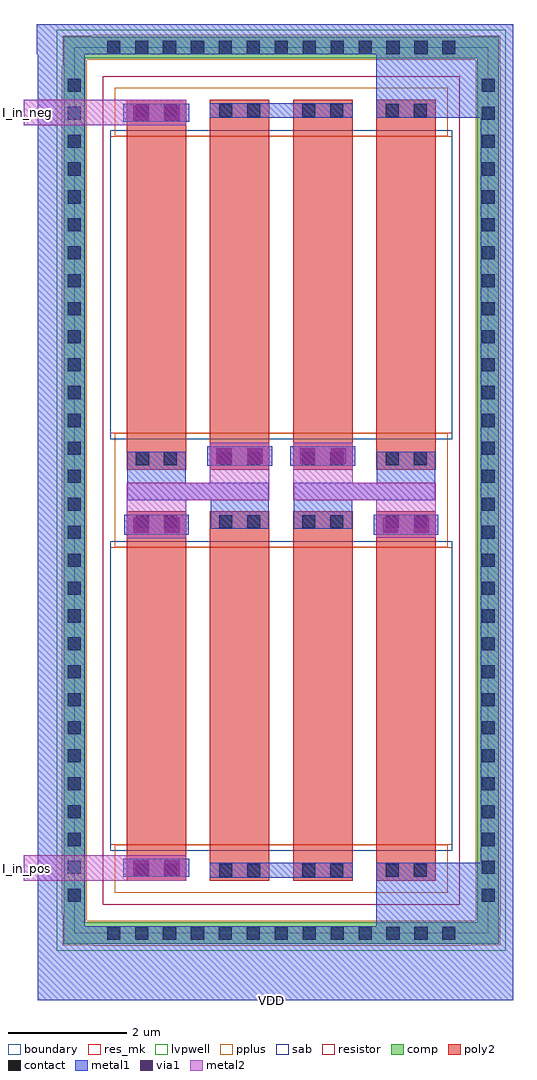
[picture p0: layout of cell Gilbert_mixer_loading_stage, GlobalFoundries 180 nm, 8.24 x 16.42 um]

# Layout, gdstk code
import gdstk
lib = gdstk.Library(unit=1e-6, precision=1e-09)
def R(c, l, rs):  # rectangles x0, y0, x1, y1
    for r in rs: c.add(gdstk.rectangle(r[:2], r[2:], *l))
def A(c, l, x, y, w, h, nx, ny, dx, dy):  # array of equal rectangles
    R(c, l, [(x+i*dx, y+j*dy, x+i*dx+w, y+j*dy+h) for i in range(nx) for j in range(ny)])
boundary = (0, 0)
comp = (22, 0)
poly2 = (30, 0)
pplus = (31, 0)
contact = (33, 0)
metal1 = (34, 0)
via1 = (35, 0)
metal2 = (36, 0)
sab = (49, 0)
resistor = (62, 0)
res_mk = (110, 5)
lvpwell = (204, 0)

ppolyf_u_1k_db8c7l = lib.new_cell('ppolyf_u_1k_DB8C7L')
R(ppolyf_u_1k_db8c7l, boundary, [(-3.48,-7.45,3.48,7.45)])
R(ppolyf_u_1k_db8c7l, comp, [(-3.66,-7.63,3.66,-7.27), (-3.66,-7.27,-3.3,7.27), (3.3,-7.27,3.66,7.27), (-3.66,7.27,3.66,7.63)])
A(ppolyf_u_1k_db8c7l, poly2, -2.6, -6.57, 1, 6.22, 4, 2, 1.4, 6.92)
R(ppolyf_u_1k_db8c7l, pplus, [(-3.175,-7.66,3.175,-7.65), (-3.68,-7.65,3.68,-7.24), (-3.68,-7.24,-3.27,-7.145), (3.27,-7.24,3.68,-7.145), (-3.69,-7.145,-3.27,7.145), (3.27,-7.145,3.69,7.145), (-2.8,-6.77,2.8,-5.96), (-2.8,-0.96,2.8,0.96), (-2.8,5.96,2.8,6.77), (-3.68,7.145,-3.27,7.24), (3.27,7.145,3.68,7.24), (-3.68,7.24,3.68,7.65), (-3.175,7.65,3.175,7.66)])
A(ppolyf_u_1k_db8c7l, contact, -2.93, -7.56, 0.22, 0.22, 13, 2, 0.47, 14.9)
A(ppolyf_u_1k_db8c7l, contact, -3.59, -6.925, 0.22, 0.22, 1, 30, 0, 0.47)
A(ppolyf_u_1k_db8c7l, contact, 3.37, -6.925, 0.22, 0.22, 1, 30, 0, 0.47)
R(ppolyf_u_1k_db8c7l, contact, [(-2.445,-6.5,-2.225,-6.28), (-1.975,-6.5,-1.755,-6.28), (-1.045,-6.5,-0.825,-6.28), (-0.575,-6.5,-0.355,-6.28), (0.355,-6.5,0.575,-6.28), (0.825,-6.5,1.045,-6.28), (1.755,-6.5,1.975,-6.28), (2.225,-6.5,2.445,-6.28), (-2.445,-0.64,-2.225,-0.42), (-1.975,-0.64,-1.755,-0.42), (-1.045,-0.64,-0.825,-0.42), (-0.575,-0.64,-0.355,-0.42), (0.355,-0.64,0.575,-0.42), (0.825,-0.64,1.045,-0.42), (1.755,-0.64,1.975,-0.42), (2.225,-0.64,2.445,-0.42), (-2.445,0.42,-2.225,0.64), (-1.975,0.42,-1.755,0.64), (-1.045,0.42,-0.825,0.64), (-0.575,0.42,-0.355,0.64), (0.355,0.42,0.575,0.64), (0.825,0.42,1.045,0.64), (1.755,0.42,1.975,0.64), (2.225,0.42,2.445,0.64), (-2.445,6.28,-2.225,6.5), (-1.975,6.28,-1.755,6.5), (-1.045,6.28,-0.825,6.5), (-0.575,6.28,-0.355,6.5), (0.355,6.28,0.575,6.5), (0.825,6.28,1.045,6.5), (1.755,6.28,1.975,6.5), (2.225,6.28,2.445,6.5)])
A(ppolyf_u_1k_db8c7l, metal1, -2.59, -6.505, 0.98, 0.23, 4, 2, 1.4, 5.86)
A(ppolyf_u_1k_db8c7l, metal1, -2.59, 0.415, 0.98, 0.23, 4, 2, 1.4, 5.86)
R(ppolyf_u_1k_db8c7l, metal1, [(-3.595,-7.565,3.595,-7.335), (-3.595,-7.335,-3.365,7.335), (3.365,-7.335,3.595,7.335), (-3.595,7.335,3.595,7.565)])
R(ppolyf_u_1k_db8c7l, sab, [(-2.88,-6.06,2.88,-0.86), (-2.88,-5.96,2.88,-0.96), (-2.88,0.86,2.88,6.06), (-2.88,0.96,2.88,5.96)])
R(ppolyf_u_1k_db8c7l, resistor, [(-3,-6.97,3,6.97)])
A(ppolyf_u_1k_db8c7l, res_mk, -2.6, -5.96, 1, 5, 4, 2, 1.4, 6.92)
R(ppolyf_u_1k_db8c7l, res_mk, [(-2.88,-5.96,2.88,-0.96), (-2.88,0.96,2.88,5.96)])
R(ppolyf_u_1k_db8c7l, lvpwell, [(-3.78,-7.75,3.78,7.75)])

gilbert_mixer_loading_st = lib.new_cell('Gilbert_mixer_loading_stage')
R(gilbert_mixer_loading_st, metal1, [(-0.605,-1.1,7.4,0.14), (-0.605,0.14,0.19,14.81), (5.095,0.14,7.4,1.21), (2.295,0.96,4.695,1.21), (0.84,0.97,1.95,1.275), (6.855,1.21,7.4,13.74), (0.85,6.73,1.94,7.06), (5.05,6.73,6.14,7.06), (2.305,6.83,3.285,7.305), (3.705,6.83,4.685,7.305), (0.905,7.305,3.285,7.605), (3.705,7.305,6.085,7.605), (0.905,7.605,1.885,8.12), (5.105,7.605,6.085,8.12), (2.25,7.89,3.34,8.22), (3.65,7.89,4.74,8.22), (0.84,13.675,1.95,13.98), (2.295,13.74,4.695,13.99), (5.095,13.74,7.4,14.81), (-0.615,14.81,7.4,15.32)])
R(gilbert_mixer_loading_st, via1, [(1.005,0.99,1.265,1.25), (1.525,0.99,1.785,1.25), (1.005,6.765,1.265,7.025), (1.525,6.765,1.785,7.025), (5.205,6.765,5.465,7.025), (5.725,6.765,5.985,7.025), (2.405,7.92,2.665,8.18), (2.925,7.92,3.185,8.18), (3.805,7.92,4.065,8.18), (4.325,7.92,4.585,8.18), (1.005,13.695,1.265,13.955), (1.525,13.695,1.785,13.955)])
R(gilbert_mixer_loading_st, metal2, [(-0.84,0.905,1.895,1.335), (0.895,6.665,1.895,7.305), (5.095,6.675,6.095,7.305), (0.895,7.305,3.295,7.605), (3.695,7.305,6.095,7.605), (2.295,7.605,3.295,8.275), (3.695,7.605,4.695,8.275), (-0.84,13.615,1.895,14.045)])
R(gilbert_mixer_loading_st, lvpwell, [(0.905,7.305,3.285,7.355), (0.905,7.355,3.315,7.49), (0.905,7.49,3.285,7.605)])
gilbert_mixer_loading_st.add(gdstk.Reference(ppolyf_u_1k_db8c7l, (3.495,7.475)))
gilbert_mixer_loading_st.add(gdstk.Label('I_in_neg', (-0.84,13.825), layer=36, texttype=10))
gilbert_mixer_loading_st.add(gdstk.Label('I_in_pos', (-0.84,1.115), layer=36, texttype=10))
gilbert_mixer_loading_st.add(gdstk.Label('VDD', (3.335,-1.1), layer=34, texttype=10))

lib.write_gds('Gilbert_mixer_loading_stage.gds')
